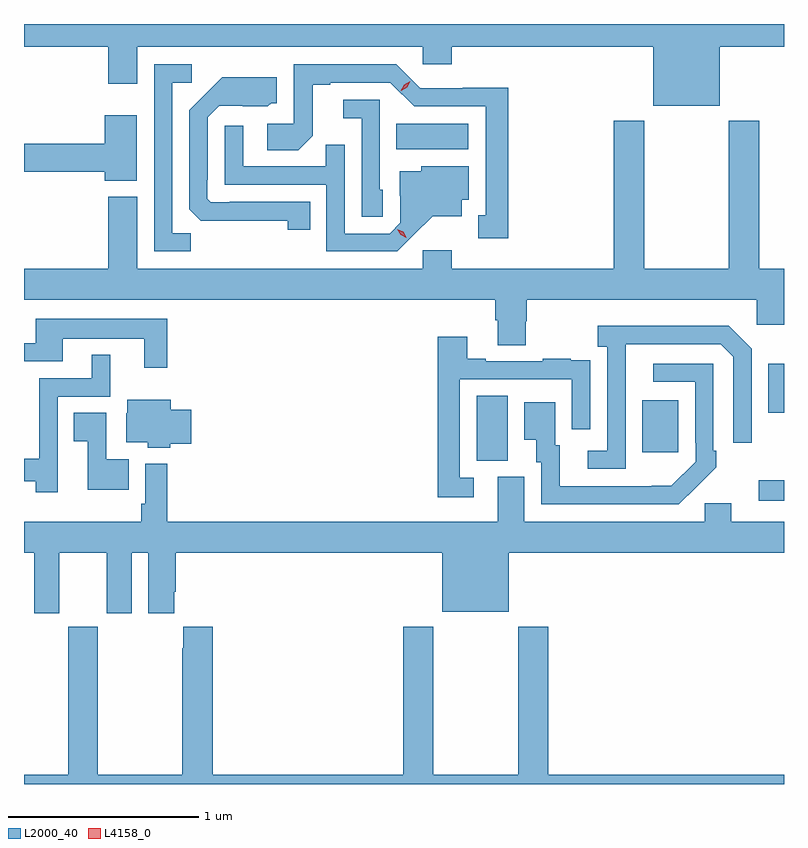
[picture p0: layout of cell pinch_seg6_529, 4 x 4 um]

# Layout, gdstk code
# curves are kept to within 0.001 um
import gdstk
lib = gdstk.Library(unit=1e-6, precision=1e-09)
def R(c, l, rs):  # rectangles x0, y0, x1, y1
    for r in rs: c.add(gdstk.rectangle(r[:2], r[2:], *l))
def P(c, l, *ps):  # polygons
    for p in ps: c.add(gdstk.Polygon(p, *l))
L2000_40 = (2000, 40)
L4158_0 = (4158, 0)

pinch_seg6_529 = lib.new_cell('pinch_seg6_529')
R(pinch_seg6_529, L2000_40, [(773.532,936.954,773.664,937.063), (772.046,937.165,772.21,937.508), (772.919,937.209,773.107,937.483), (773.582,937.418,773.664,937.675), (771.622,938.804,772.003,938.938)])
P(pinch_seg6_529, L2000_40, [(773.326,939.344),(773.664,939.344),(773.664,939.464),(769.664,939.464),(769.664,939.344),(770.108,939.344),(770.108,939.15),(770.26,939.15),(770.26,939.344),(771.762,939.344),(771.762,939.251),(771.914,939.251),(771.914,939.344),(772.976,939.344),(772.976,939.035),(773.326,939.035)],
  [(772.213,939.128),(771.972,939.128),(771.972,939.126),(771.75,939.126),(771.624,939.252),(771.084,939.252),(771.084,938.94),(770.943,938.94),(770.943,938.8),(771.107,938.8),(771.183,938.876),(771.183,939.144),(771.277,939.144),(771.277,939.156),(771.591,939.156),(771.717,939.03),(772.094,939.03),(772.094,938.457),(772.055,938.457),(772.055,938.337),(772.213,938.337)],
  [(770.541,938.363),(770.445,938.363),(770.445,939.156),(770.548,939.156),(770.548,939.252),(770.349,939.252),(770.349,938.268),(770.541,938.268)],
  [(771.17,938.529),(770.746,938.529),(770.746,938.526),(770.646,938.526),(770.628,938.544),(770.628,938.644),(770.631,938.644),(770.631,938.973),(770.691,939.033),(770.948,939.032),(770.964,939.048),(770.995,939.048),(770.995,939.184),(770.707,939.184),(770.535,939.01),(770.535,938.488),(770.594,938.429),(771.052,938.428),(771.052,938.382),(771.17,938.382)],
  [(771.552,938.592),(771.537,938.592),(771.537,939.066),(771.345,939.066),(771.345,938.969),(771.441,938.969),(771.441,938.449),(771.552,938.449)],
  [(770.257,938.983),(770.09,938.983),(770.09,938.834),(769.664,938.834),(769.664,938.687),(770.09,938.687),(770.09,938.639),(770.257,938.639)],
  [(772.305,937.899),(772.31,937.899),(772.31,938.012),(773.52,938.012),(773.52,937.881),(773.664,937.881),(773.664,938.176),(773.534,938.176),(773.534,938.956),(773.374,938.956),(773.374,938.176),(772.929,938.176),(772.929,938.956),(772.769,938.956),(772.769,938.176),(771.914,938.176),(771.914,938.272),(771.762,938.272),(771.762,938.176),(770.26,938.176),(770.26,938.554),(770.108,938.554),(770.108,938.176),(769.664,938.176),(769.664,938.012),(772.145,938.012),(772.145,937.906),(772.157,937.906),(772.157,937.774),(772.305,937.774)],
  [(771.712,938.351),(771.815,938.453),(771.967,938.453),(771.967,938.54),(772.006,938.54),(772.006,938.716),(771.756,938.716),(771.756,938.689),(771.641,938.689),(771.641,938.56),(771.645,938.56),(771.645,938.418),(771.588,938.361),(771.351,938.361),(771.351,938.828),(771.253,938.828),(771.253,938.715),(770.817,938.715),(770.817,938.929),(770.721,938.929),(770.721,938.619),(771.255,938.619),(771.255,938.268),(771.628,938.268)],
  [(770.419,937.912),(769.727,937.912),(769.727,937.785),(769.664,937.785),(769.664,937.689),(769.867,937.689),(769.867,937.808),(770.297,937.808),(770.297,937.656),(770.419,937.656)],
  [(772.83,937.579),(772.831,937.779),(773.331,937.779),(773.397,937.713),(773.397,937.26),(773.493,937.26),(773.493,937.755),(773.372,937.876),(772.683,937.876),(772.683,937.766),(772.734,937.766),(772.734,937.218),(772.632,937.218),(772.632,937.122),(772.83,937.122)],
  [(772.03,937.077),(771.957,937.077),(771.957,937.593),(772.548,937.593),(772.548,937.332),(772.644,937.332),(772.644,937.586),(772.643,937.586),(772.643,937.695),(772.541,937.695),(772.541,937.702),(772.393,937.702),(772.393,937.689),(772.093,937.689),(772.093,937.702),(771.997,937.702),(771.997,937.819),(771.841,937.819),(771.841,936.972),(772.03,936.972)],
  [(769.842,937.503),(770.119,937.503),(770.119,937.723),(770.021,937.723),(770.021,937.599),(769.745,937.599),(769.745,937.175),(769.664,937.175),(769.664,937.058),(769.726,937.058),(769.726,936.999),(769.842,936.999)],
  [(773.201,937.027),(773.202,937.026),(773.307,937.131),(773.307,937.219),(773.292,937.219),(773.292,937.677),(772.977,937.677),(772.977,937.581),(773.196,937.581),(773.196,937.261),(773.199,937.261),(773.199,937.161),(773.071,937.033),(772.483,937.032),(772.483,937.248),(772.459,937.248),(772.459,937.474),(772.298,937.474),(772.298,937.277),(772.361,937.277),(772.361,937.158),(772.386,937.158),(772.386,936.936),(773.11,936.936)],
  [(770.433,937.255),(770.545,937.255),(770.545,937.433),(770.437,937.433),(770.437,937.486),(770.207,937.486),(770.207,937.416),(770.201,937.416),(770.201,937.262),(770.316,937.262),(770.316,937.235),(770.433,937.235)],
  [(770.216,937.174),(770.097,937.174),(770.097,937.418),(769.927,937.418),(769.927,937.267),(770,937.267),(770,937.013),(770.216,937.013)],
  [(769.849,936.68),(770.099,936.68),(770.099,936.363),(770.23,936.363),(770.23,936.68),(770.318,936.68),(770.318,936.363),(770.455,936.363),(770.455,936.475),(770.462,936.475),(770.462,936.68),(771.866,936.68),(771.866,936.371),(772.216,936.371),(772.216,936.68),(773.664,936.68),(773.664,936.844),(773.386,936.844),(773.386,936.942),(773.247,936.942),(773.247,936.844),(772.297,936.844),(772.297,937.08),(772.157,937.08),(772.157,936.844),(770.417,936.844),(770.417,937.15),(770.301,937.15),(770.301,936.94),(770.281,936.94),(770.281,936.844),(769.664,936.844),(769.664,936.68),(769.718,936.68),(769.718,936.363),(769.849,936.363)],
  [(773.664,935.512),(772.424,935.512),(772.424,936.292),(772.264,936.292),(772.264,935.512),(771.819,935.512),(771.819,936.292),(771.659,936.292),(771.659,935.512),(770.657,935.512),(770.657,936.292),(770.501,936.292),(770.501,936.179),(770.497,936.179),(770.497,935.512),(770.052,935.512),(770.052,936.292),(769.897,936.292),(769.897,935.512),(769.664,935.512),(769.664,935.464),(773.664,935.464)])
P(pinch_seg6_529, L4158_0, [(771.648,939.112),(771.648,939.113),(771.666,939.145),(771.698,939.164),(771.698,939.164),(771.698,939.163),(771.68,939.131),(771.649,939.112)],
  [(771.677,938.34),(771.646,938.356),(771.629,938.385),(771.629,938.385),(771.629,938.385),(771.66,938.37),(771.677,938.341),(771.677,938.34)])

lib.write_gds('pinch_seg6_529.gds')
